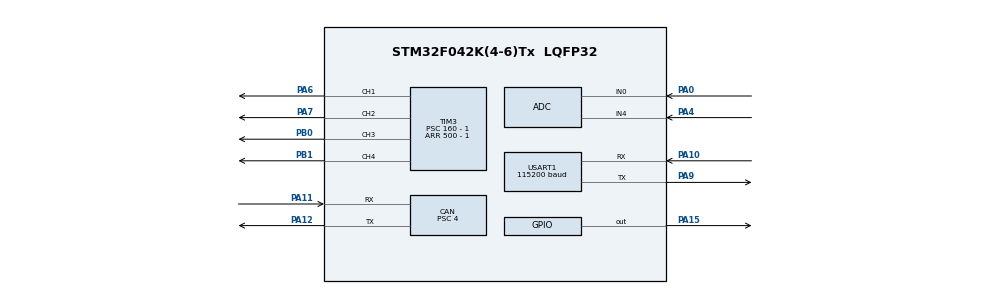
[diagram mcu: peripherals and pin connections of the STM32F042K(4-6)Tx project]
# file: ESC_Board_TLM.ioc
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ADC.SamplingTime=ADC_SAMPLETIME_71CYCLES_5
CAN.AWUM=DISABLE
CAN.BS1=CAN_BS1_11TQ
CAN.BS2=CAN_BS2_4TQ
CAN.CalculateTimeQuantum=500.0
CAN.NART=DISABLE
CAN.Prescaler=4
CAN.SJW=CAN_SJW_1TQ
CAN.TXFP=DISABLE
Dma.Request0=TIM3_CH1/TRIG
Dma.TIM3_CH1/TRIG.0.Direction=DMA_PERIPH_TO_MEMORY
Dma.TIM3_CH1/TRIG.0.Instance=DMA1_Channel4
Dma.TIM3_CH1/TRIG.0.MemDataAlignment=DMA_MDATAALIGN_HALFWORD
Dma.TIM3_CH1/TRIG.0.MemInc=DMA_MINC_ENABLE
Dma.TIM3_CH1/TRIG.0.Mode=DMA_NORMAL
Dma.TIM3_CH1/TRIG.0.PeriphDataAlignment=DMA_PDATAALIGN_WORD
Dma.TIM3_CH1/TRIG.0.PeriphInc=DMA_PINC_ENABLE
Dma.TIM3_CH1/TRIG.0.Priority=DMA_PRIORITY_LOW
Mcu.Family=STM32F0
Mcu.Name=STM32F042K(4-6)Tx
Mcu.Package=LQFP32
Mcu.UserConstants=NUM_ADC_INIT_WAIT_MS,500;TLM_PACKET_ARRIVAL_MS,10
NVIC.ADC1_IRQn=true\:1\:0\:true\:false\:true\:true\:true
NVIC.CEC_CAN_IRQn=true\:0\:0\:false\:false\:true\:true\:true
NVIC.DMA1_Channel4_5_IRQn=true\:0\:0\:false\:false\:true\:false\:true
NVIC.TIM14_IRQn=true\:0\:0\:false\:false\:true\:true\:true
NVIC.TIM16_IRQn=true\:0\:0\:false\:false\:true\:true\:true
NVIC.USART1_IRQn=true\:0\:0\:false\:false\:true\:true\:true
PA0.Mode=IN0
PA0.Signal=ADC_IN0
PA10.Mode=Asynchronous
PA10.Signal=USART1_RX
PA11.Mode=Master
PA11.Signal=CAN_RX
PA12.Mode=Master
PA12.Signal=CAN_TX
PA15.Signal=GPIO_Output
PA4.Mode=IN4
PA4.Signal=ADC_IN4
PA6.Signal=S_TIM3_CH1
PA7.Signal=S_TIM3_CH2
PA9.Mode=Asynchronous
PA9.Signal=USART1_TX
PB0.Signal=S_TIM3_CH3
PB1.Signal=S_TIM3_CH4
ProjectManager.HeapSize=0x200
ProjectManager.StackSize=0x400
ProjectManager.TargetToolchain=STM32CubeIDE
SH.S_TIM3_CH1.0=TIM3_CH1,PWM Generation1 CH1
SH.S_TIM3_CH2.0=TIM3_CH2,PWM Generation2 CH2
SH.S_TIM3_CH3.0=TIM3_CH3,PWM Generation3 CH3
SH.S_TIM3_CH4.0=TIM3_CH4,PWM Generation4 CH4
TIM14.Period=NUM_ADC_INIT_WAIT_MS - 1
TIM14.Prescaler=8000 - 1
TIM16.Period=TLM_PACKET_ARRIVAL_MS-1
TIM16.Prescaler=8000-1
TIM3.AutoReloadPreload=TIM_AUTORELOAD_PRELOAD_ENABLE
TIM3.Channel-PWM\ Generation1\ CH1=TIM_CHANNEL_1
TIM3.Channel-PWM\ Generation2\ CH2=TIM_CHANNEL_2
TIM3.Channel-PWM\ Generation3\ CH3=TIM_CHANNEL_3
TIM3.Channel-PWM\ Generation4\ CH4=TIM_CHANNEL_4
TIM3.Period=500 - 1
TIM3.Prescaler=160 - 1
TIM3.Pulse-PWM\ Generation1\ CH1=75
TIM3.Pulse-PWM\ Generation2\ CH2=75
TIM3.Pulse-PWM\ Generation3\ CH3=75
TIM3.Pulse-PWM\ Generation4\ CH4=75
USART1.BaudRate=115200
USART1.Mode=MODE_RX
USART1.VirtualMode-Asynchronous=VM_ASYNC
VP_TIM14_VS_ClockSourceINT.Mode=Enable_Timer
VP_TIM16_VS_ClockSourceINT.Mode=Enable_Timer
board=custom

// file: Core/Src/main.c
/* USER CODE BEGIN Header */
/**
    ******************************************************************************
    * @file                     : main.c
    * @brief                    : Main program body
    ******************************************************************************
    ** This notice applies to any and all portions of this file
    * that are not between comment pairs USER CODE BEGIN and
    * USER CODE END. Other portions of this file, whether
    * inserted by the user or by software development tools
    * are owned by their respective copyright owners.
    *
    * COPYRIGHT(c) 2019 STMicroelectronics
    *
    * Redistribution and use in source and binary forms, with or without modification,
    * are permitted provided that the following conditions are met:
    *     1. Redistributions of source code must retain the above copyright notice,
    *            this list of conditions and the following disclaimer.
    *     2. Redistributions in binary form must reproduce the above copyright notice,
    *            this list of conditions and the following disclaimer in the documentation
    *            and/or other materials provided with the distribution.
    *     3. Neither the name of STMicroelectronics nor the names of its contributors
    *            may be used to endorse or promote products derived from this software
    *            without specific prior written permission.
    *
    * THIS SOFTWARE IS PROVIDED BY THE COPYRIGHT HOLDERS AND CONTRIBUTORS "AS IS"
    * AND ANY EXPRESS OR IMPLIED WARRANTIES, INCLUDING, BUT NOT LIMITED TO, THE
    * IMPLIED WARRANTIES OF MERCHANTABILITY AND FITNESS FOR A PARTICULAR PURPOSE ARE
    * DISCLAIMED. IN NO EVENT SHALL THE COPYRIGHT HOLDER OR CONTRIBUTORS BE LIABLE
    * FOR ANY DIRECT, INDIRECT, INCIDENTAL, SPECIAL, EXEMPLARY, OR CONSEQUENTIAL
    * DAMAGES (INCLUDING, BUT NOT LIMITED TO, PROCUREMENT OF SUBSTITUTE GOODS OR
    * SERVICES; LOSS OF USE, DATA, OR PROFITS; OR BUSINESS INTERRUPTION) HOWEVER
    * CAUSED AND ON ANY THEORY OF LIABILITY, WHETHER IN CONTRACT, STRICT LIABILITY,
    * OR TORT (INCLUDING NEGLIGENCE OR OTHERWISE) ARISING IN ANY WAY OUT OF THE USE
    * OF THIS SOFTWARE, EVEN IF ADVISED OF THE POSSIBILITY OF SUCH DAMAGE.
    *
    ******************************************************************************
    */
/* USER CODE END Header */
#include "main.h"

/* USER CODE BEGIN Includes */
#include <assert.h>
#include <stdint.h>

#include "common.h"
#define FILTER_AND_QUEUE 0
#if FILTER_AND_QUEUE
#include "canFilterBankConfig.h"
#include "queue.h"
#endif

#pragma GCC diagnostic warning "-Wunused-macros"
#pragma GCC diagnostic warning "-Wunused-parameter"
#pragma GCC diagnostic warning "-Wsign-compare"
#pragma GCC diagnostic warning "-Wconversion"
#pragma GCC diagnostic warning "-Wredundant-decls"
#pragma GCC diagnostic warning "-Wswitch-default"
#pragma GCC diagnostic warning "-Wswitch-enum"

/* USER CODE END Includes */

/* USER CODE BEGIN PTD */

typedef struct
{
	CAN_TxHeaderTypeDef canTxHeader;
	uint8_t data[8];
} CanTxData;

typedef enum {
	KISS_TEMP = 0,
	KISS_VOLT_HIGH,
	KISS_VOLT_LOW,
	KISS_CURRENT_HIGH,
	KISS_CURRENT_LOW,
	KISS_ENERGY_HIGH,
	KISS_ENERGY_LOW,
	KISS_ERPM_HIGH,
	KISS_ERPM_LOW,
	KISS_CRC,
	KISS_NO_CRC_COUNT = KISS_CRC,
	KISS_CRC_COUNT
} kiss_tlm_index_t;

typedef enum {
	ROV_TEMP = 0,
	ROV_VOLT,
	ROV_CURRENT_HIGH,
	ROV_CURRENT_LOW,
	ROV_ENERGY_HIGH,
	ROV_ENERGY_LOW,
	ROV_ERPM_HIGH,
	ROV_ERPM_LOW,
	ROV_TLM_COUNT
} rov_tlm_index_t;

/* USER CODE END PTD */

/* USER CODE BEGIN PD */

#define NUM_ADC_INIT_WAIT_MS 500

#define CAN_ST_ID_REG_N_BITS 11
#define CAN_ST_ID_REG_MAX MASK_OF(CAN_ST_ID_REG_N_BITS)

/*
 * The resistor voltage divisions for the CAN ID have a pull up on the ESC controller board
 * where this micro is. The pull down is on the backplane. ID 206 will be used if the board
 * is unconnected, resulting in ADC value of VCC (4095). The other voltage divisions are
 * designed to be at 0.3, 0.5, and 0.7 VCC. So the "bins" for them will be 0.2 to 0.4 are 0.3
 * or ID 201, 0.4 to 0.6 are 0.5 or ID 202, and 0.6 to 0.8 are 0.7 or ID 203.
 */

#define ADC_MAX_VALUE (4095U)
#define CAN_ID_201_LOW_THRESHOLD (ADC_MAX_VALUE / 5)
#define CAN_ID_202_LOW_THRESHOLD (ADC_MAX_VALUE / 5 * 2)
#define CAN_ID_203_LOW_THRESHOLD (ADC_MAX_VALUE / 5 * 3)
#define CAN_ID_206_LOW_THRESHOLD (ADC_MAX_VALUE / 5 * 4)
#define CAN_ID_201_HIGH_THRESHOLD (CAN_ID_202_LOW_THRESHOLD - 1)
#define CAN_ID_202_HIGH_THRESHOLD (CAN_ID_203_LOW_THRESHOLD - 1)
#define CAN_ID_203_HIGH_THRESHOLD (CAN_ID_206_LOW_THRESHOLD - 1)
#define CAN_ID_206_HIGH_THRESHOLD ADC_MAX_VALUE

#define CAN_ID_201_FLASH_MS 1000
#define CAN_ID_202_FLASH_MS 500
#define CAN_ID_203_FLASH_MS 250
#define CAN_ID_206_FLASH_MS 2000
#define ERROR_FLASH_MS 4000

#define NUM_CAN_TX_QUEUE_MESSAGES 5

#define SEND_ID_INC 0x100U
#define SEND_ID (canId + SEND_ID_INC)

#define voltToKISSFormat(volt) (volt * 100U)

#define ROV_VOLT_MIN 10U
#define ROV_VOLT_MIN_KISS (voltToKISSFormat(ROV_VOLT_MIN))
#define ROV_VOLT_MAX_KISS 4060U
#define ROV_VOLT_DIVISOR ((ROV_VOLT_MAX_KISS - ROV_VOLT_MIN_KISS) / UINT8_MAX)

// Assert that the divisor is a whole number.
compile_assert((float)ROV_VOLT_DIVISOR == ((ROV_VOLT_MAX_KISS - ROV_VOLT_MIN_KISS) / (float)UINT8_MAX));

/* USER CODE END PD */

ADC_HandleTypeDef hadc;

CAN_HandleTypeDef hcan;

TIM_HandleTypeDef htim3;
TIM_HandleTypeDef htim14;
TIM_HandleTypeDef htim16;
DMA_HandleTypeDef hdma_tim3_ch1_trig;

UART_HandleTypeDef huart1;

/* USER CODE BEGIN PV */
uint32_t canId = 0x206;
uint8_t adcConfigured = 0;

#if FILTER_AND_QUEUE
queue_handle_t canTxQueueHandle;
#endif
CanTxData canTxData[NUM_CAN_TX_QUEUE_MESSAGES];
CanTxData canTxPrivateMessageToSend;

static uint8_t telemetryBuffer[KISS_CRC_COUNT] = {0};
static volatile uint8_t telemetryBytesRecieved;
static uint8_t uartRxBuffer;
static volatile uint8_t sendTelemetry;
// Not sure if some of the above variables should or shouldn't be volatile so that
// main properly checks them after the interrupt modifies them.
/* USER CODE END PV */

void SystemClock_Config(void);
static void MX_GPIO_Init(void);
static void MX_DMA_Init(void);
static void MX_CAN_Init(void);
static void MX_ADC_Init(void);
static void MX_TIM3_Init(void);
static void MX_USART1_UART_Init(void);
static void MX_TIM14_Init(void);
static void MX_TIM16_Init(void);
/* USER CODE BEGIN PFP */

void EnablePWMOutput(TIM_HandleTypeDef *_htim);
static uint32_t byte_to_pwm(uint8_t byte);

#if FILTER_AND_QUEUE
static void CAN_ConfigureFilterForThrusterOperation(void);
#endif
void SendCANMessage(CanTxData *canTxDataToSend);

//  Interrupt Callback Functions
void CAN_FIFO0_RXMessagePendingCallback(CAN_HandleTypeDef *_hcan);
void CAN_TxRequestCompleteCallback(CAN_HandleTypeDef *_hcan);
void ADC_ConversionCompleteCallback(ADC_HandleTypeDef *_hadc);
void TIM14_TimeElapsedCallback(TIM_HandleTypeDef *_htim);
void TIM16_TimeElapsedCallback(TIM_HandleTypeDef *_htim);

static uint8_t packROVVolt(uint16_t kissVolt);
static void sendTelemetryData(void);
/* USER CODE END PFP */

int main(void)
{

  /* MCU Configuration--------------------------------------------------------*/

  /* Reset of all peripherals, Initializes the Flash interface and the Systick. */
  HAL_Init();

  /* Configure the system clock */
  SystemClock_Config();

  /* Initialize all configured peripherals */
  MX_GPIO_Init();
  MX_DMA_Init();
  MX_CAN_Init();
  MX_ADC_Init();
  MX_TIM3_Init();
  MX_USART1_UART_Init();
  MX_TIM14_Init();
  MX_TIM16_Init();
  /* USER CODE BEGIN 2 */

#if FILTER_AND_QUEUE
  InitializeQueueModule();
  CreateQueue((void*)canTxData, sizeof(canTxData[0]), N_ELEMENTS(canTxData), &canTxQueueHandle);
#endif

  //  Enable PWM Outputs to ESCs
  EnablePWMOutput(&htim3);

  //  Start Timer to begin sampling ESC_ID with ADC
  HAL_TIM_Base_Start_IT(&htim14);

  // Start waiting for a telemetry packet to be sent.
  HAL_UART_Receive_IT(&huart1, &uartRxBuffer, 1);

  /* USER CODE END 2 */

  /* Infinite loop */
    while (1)
    {

    /* USER CODE BEGIN 3 */
		if(sendTelemetry) {
			if(telemetryBytesRecieved >= KISS_NO_CRC_COUNT) {
				sendTelemetryData();
			}
			telemetryBytesRecieved = 0;
			sendTelemetry = 0;
		}
		asm volatile("wfi");
    }
  /* USER CODE END 3 */
}

void SystemClock_Config(void)
{
  RCC_OscInitTypeDef RCC_OscInitStruct = {0};
  RCC_ClkInitTypeDef RCC_ClkInitStruct = {0};
  RCC_PeriphCLKInitTypeDef PeriphClkInit = {0};

  /** Initializes the RCC Oscillators according to the specified parameters
  * in the RCC_OscInitTypeDef structure.
  */
  RCC_OscInitStruct.OscillatorType = RCC_OSCILLATORTYPE_HSI|RCC_OSCILLATORTYPE_HSI14;
  RCC_OscInitStruct.HSIState = RCC_HSI_ON;
  RCC_OscInitStruct.HSI14State = RCC_HSI14_ON;
  RCC_OscInitStruct.HSICalibrationValue = RCC_HSICALIBRATION_DEFAULT;
  RCC_OscInitStruct.HSI14CalibrationValue = 16;
  RCC_OscInitStruct.PLL.PLLState = RCC_PLL_NONE;
  if (HAL_RCC_OscConfig(&RCC_OscInitStruct) != HAL_OK)
  {
    Error_Handler();
  }
  /** Initializes the CPU, AHB and APB buses clocks
  */
  RCC_ClkInitStruct.ClockType = RCC_CLOCKTYPE_HCLK|RCC_CLOCKTYPE_SYSCLK
                              |RCC_CLOCKTYPE_PCLK1;
  RCC_ClkInitStruct.SYSCLKSource = RCC_SYSCLKSOURCE_HSI;
  RCC_ClkInitStruct.AHBCLKDivider = RCC_SYSCLK_DIV1;
  RCC_ClkInitStruct.APB1CLKDivider = RCC_HCLK_DIV1;

  if (HAL_RCC_ClockConfig(&RCC_ClkInitStruct, FLASH_LATENCY_0) != HAL_OK)
  {
    Error_Handler();
  }
  PeriphClkInit.PeriphClockSelection = RCC_PERIPHCLK_USART1;
  PeriphClkInit.Usart1ClockSelection = RCC_USART1CLKSOURCE_PCLK1;
  if (HAL_RCCEx_PeriphCLKConfig(&PeriphClkInit) != HAL_OK)
  {
    Error_Handler();
  }
}

static void MX_ADC_Init(void)
{

  ADC_ChannelConfTypeDef sConfig = {0};

  /** Configure the global features of the ADC (Clock, Resolution, Data Alignment and number of conversion)
  */
  hadc.Instance = ADC1;
  hadc.Init.ClockPrescaler = ADC_CLOCK_ASYNC_DIV1;
  hadc.Init.Resolution = ADC_RESOLUTION_12B;
  hadc.Init.DataAlign = ADC_DATAALIGN_RIGHT;
  hadc.Init.ScanConvMode = ADC_SCAN_DIRECTION_FORWARD;
  hadc.Init.EOCSelection = ADC_EOC_SINGLE_CONV;
  hadc.Init.LowPowerAutoWait = DISABLE;
  hadc.Init.LowPowerAutoPowerOff = DISABLE;
  hadc.Init.ContinuousConvMode = DISABLE;
  hadc.Init.DiscontinuousConvMode = DISABLE;
  hadc.Init.ExternalTrigConv = ADC_SOFTWARE_START;
  hadc.Init.ExternalTrigConvEdge = ADC_EXTERNALTRIGCONVEDGE_NONE;
  hadc.Init.DMAContinuousRequests = DISABLE;
  hadc.Init.Overrun = ADC_OVR_DATA_PRESERVED;
  if (HAL_ADC_Init(&hadc) != HAL_OK)
  {
    Error_Handler();
  }
  /** Configure for the selected ADC regular channel to be converted.
  */
  sConfig.Channel = ADC_CHANNEL_0;
  sConfig.Rank = ADC_RANK_CHANNEL_NUMBER;
  sConfig.SamplingTime = ADC_SAMPLETIME_71CYCLES_5;
  if (HAL_ADC_ConfigChannel(&hadc, &sConfig) != HAL_OK)
  {
    Error_Handler();
  }
  /** Configure for the selected ADC regular channel to be converted.
  */
  sConfig.Channel = ADC_CHANNEL_4;
  if (HAL_ADC_ConfigChannel(&hadc, &sConfig) != HAL_OK)
  {
    Error_Handler();
  }
  /* USER CODE BEGIN ADC_Init 2 */

  //  Configure ADC Interrupt Callback
  HAL_ADC_RegisterCallback(&hadc, HAL_ADC_CONVERSION_COMPLETE_CB_ID, ADC_ConversionCompleteCallback);

  //  Calibrate ADC
  HAL_ADCEx_Calibration_Start(&hadc);

  /* USER CODE END ADC_Init 2 */

}

static void MX_CAN_Init(void)
{

  /* USER CODE BEGIN CAN_Init 1 */

  //  125kbps baud rate is configured
  //  HAL_CAN_Init() enters and stays in Initialization Mode
  /* USER CODE END CAN_Init 1 */
  hcan.Instance = CAN;
  hcan.Init.Prescaler = 4;
  hcan.Init.Mode = CAN_MODE_NORMAL;
  hcan.Init.SyncJumpWidth = CAN_SJW_1TQ;
  hcan.Init.TimeSeg1 = CAN_BS1_11TQ;
  hcan.Init.TimeSeg2 = CAN_BS2_4TQ;
  hcan.Init.TimeTriggeredMode = DISABLE;
  hcan.Init.AutoBusOff = DISABLE;
  hcan.Init.AutoWakeUp = DISABLE;
  hcan.Init.AutoRetransmission = DISABLE;
  hcan.Init.ReceiveFifoLocked = DISABLE;
  hcan.Init.TransmitFifoPriority = DISABLE;
  if (HAL_CAN_Init(&hcan) != HAL_OK)
  {
    Error_Handler();
  }
  /* USER CODE BEGIN CAN_Init 2 */

  //  Enable FIFO0 Message Pending Interrupt
  HAL_CAN_ActivateNotification(&hcan, CAN_IT_RX_FIFO0_MSG_PENDING);

  //  Configure CAN Interrupt Callbacks
  HAL_CAN_RegisterCallback(&hcan, HAL_CAN_RX_FIFO0_MSG_PENDING_CB_ID, CAN_FIFO0_RXMessagePendingCallback);

#if FILTER_AND_QUEUE
  CAN_ConfigureFilterForThrusterOperation();
#endif

  //  Enable TX Request Complete Interrupt
#if FILTER_AND_QUEUE
  HAL_CAN_ActivateNotification(&hcan, CAN_IT_TX_MAILBOX_EMPTY);
  HAL_CAN_RegisterCallback(&hcan, HAL_CAN_TX_MAILBOX0_COMPLETE_CB_ID, CAN_TxRequestCompleteCallback);
  HAL_CAN_RegisterCallback(&hcan, HAL_CAN_TX_MAILBOX1_COMPLETE_CB_ID, CAN_TxRequestCompleteCallback);
  HAL_CAN_RegisterCallback(&hcan, HAL_CAN_TX_MAILBOX2_COMPLETE_CB_ID, CAN_TxRequestCompleteCallback);
#endif

  /* USER CODE END CAN_Init 2 */

}

static void MX_TIM3_Init(void)
{

  TIM_MasterConfigTypeDef sMasterConfig = {0};
  TIM_OC_InitTypeDef sConfigOC = {0};

  /* USER CODE BEGIN TIM3_Init 1 */

  //  ESC will update at a frequency of 100Hz
  //  TIM3 Count will reset every 10ms
  /* USER CODE END TIM3_Init 1 */
  htim3.Instance = TIM3;
  htim3.Init.Prescaler = 160 - 1;
  htim3.Init.CounterMode = TIM_COUNTERMODE_UP;
  htim3.Init.Period = 500 - 1;
  htim3.Init.ClockDivision = TIM_CLOCKDIVISION_DIV1;
  htim3.Init.AutoReloadPreload = TIM_AUTORELOAD_PRELOAD_ENABLE;
  if (HAL_TIM_PWM_Init(&htim3) != HAL_OK)
  {
    Error_Handler();
  }
  sMasterConfig.MasterOutputTrigger = TIM_TRGO_RESET;
  sMasterConfig.MasterSlaveMode = TIM_MASTERSLAVEMODE_DISABLE;
  if (HAL_TIMEx_MasterConfigSynchronization(&htim3, &sMasterConfig) != HAL_OK)
  {
    Error_Handler();
  }
  sConfigOC.OCMode = TIM_OCMODE_PWM1;
  sConfigOC.Pulse = 75;
  sConfigOC.OCPolarity = TIM_OCPOLARITY_HIGH;
  sConfigOC.OCFastMode = TIM_OCFAST_DISABLE;
  if (HAL_TIM_PWM_ConfigChannel(&htim3, &sConfigOC, TIM_CHANNEL_1) != HAL_OK)
  {
    Error_Handler();
  }
  if (HAL_TIM_PWM_ConfigChannel(&htim3, &sConfigOC, TIM_CHANNEL_2) != HAL_OK)
  {
    Error_Handler();
  }
  if (HAL_TIM_PWM_ConfigChannel(&htim3, &sConfigOC, TIM_CHANNEL_3) != HAL_OK)
  {
    Error_Handler();
  }
  if (HAL_TIM_PWM_ConfigChannel(&htim3, &sConfigOC, TIM_CHANNEL_4) != HAL_OK)
  {
    Error_Handler();
  }
  HAL_TIM_MspPostInit(&htim3);

}

static void MX_TIM14_Init(void)
{

  htim14.Instance = TIM14;
  htim14.Init.Prescaler = 8000 - 1;
  htim14.Init.CounterMode = TIM_COUNTERMODE_UP;
  htim14.Init.Period = NUM_ADC_INIT_WAIT_MS - 1;
  htim14.Init.ClockDivision = TIM_CLOCKDIVISION_DIV1;
  htim14.Init.AutoReloadPreload = TIM_AUTORELOAD_PRELOAD_DISABLE;
  if (HAL_TIM_Base_Init(&htim14) != HAL_OK)
  {
    Error_Handler();
  }
  /* USER CODE BEGIN TIM14_Init 2 */

  //  Reconfigure Timer ARR to count up to NUM_ADC_INIT_WAIT_MS ms until ADC conversion start
  htim14.Instance->ARR = htim14.Init.Period;

  //  Configure Timer Interrupt Callback
  HAL_TIM_RegisterCallback(&htim14, HAL_TIM_PERIOD_ELAPSED_CB_ID, TIM14_TimeElapsedCallback);

  /* USER CODE END TIM14_Init 2 */

}

static void MX_TIM16_Init(void)
{

  htim16.Instance = TIM16;
  htim16.Init.Prescaler = 8000-1;
  htim16.Init.CounterMode = TIM_COUNTERMODE_UP;
  htim16.Init.Period = TLM_PACKET_ARRIVAL_MS-1;
  htim16.Init.ClockDivision = TIM_CLOCKDIVISION_DIV1;
  htim16.Init.RepetitionCounter = 0;
  htim16.Init.AutoReloadPreload = TIM_AUTORELOAD_PRELOAD_DISABLE;
  if (HAL_TIM_Base_Init(&htim16) != HAL_OK)
  {
    Error_Handler();
  }
  /* USER CODE BEGIN TIM16_Init 2 */

    htim14.Instance->ARR = htim14.Init.Period;

	HAL_TIM_RegisterCallback(&htim16, HAL_TIM_PERIOD_ELAPSED_CB_ID, TIM16_TimeElapsedCallback);
  /* USER CODE END TIM16_Init 2 */

}

static void MX_USART1_UART_Init(void)
{

  huart1.Instance = USART1;
  huart1.Init.BaudRate = 115200;
  huart1.Init.WordLength = UART_WORDLENGTH_8B;
  huart1.Init.StopBits = UART_STOPBITS_1;
  huart1.Init.Parity = UART_PARITY_NONE;
  huart1.Init.Mode = UART_MODE_RX;
  huart1.Init.HwFlowCtl = UART_HWCONTROL_NONE;
  huart1.Init.OverSampling = UART_OVERSAMPLING_16;
  huart1.Init.OneBitSampling = UART_ONE_BIT_SAMPLE_DISABLE;
  huart1.AdvancedInit.AdvFeatureInit = UART_ADVFEATURE_NO_INIT;
  if (HAL_UART_Init(&huart1) != HAL_OK)
  {
    Error_Handler();
  }
  /* USER CODE BEGIN USART1_Init 2 */

  HAL_StatusTypeDef status = HAL_UART_RegisterCallback(&huart1, HAL_UART_RX_COMPLETE_CB_ID, HAL_UART_RxCpltCallback);
  (void)status;
  /* USER CODE END USART1_Init 2 */

}

static void MX_DMA_Init(void)
{

  /* DMA controller clock enable */
  __HAL_RCC_DMA1_CLK_ENABLE();

  /* DMA interrupt init */
  /* DMA1_Channel4_5_IRQn interrupt configuration */
  HAL_NVIC_SetPriority(DMA1_Channel4_5_IRQn, 0, 0);
  HAL_NVIC_EnableIRQ(DMA1_Channel4_5_IRQn);

}

static void MX_GPIO_Init(void)
{
  GPIO_InitTypeDef GPIO_InitStruct = {0};

  /* GPIO Ports Clock Enable */
  __HAL_RCC_GPIOA_CLK_ENABLE();
  __HAL_RCC_GPIOB_CLK_ENABLE();

  /*Configure GPIO pin Output Level */
  HAL_GPIO_WritePin(GPIOA, GPIO_PIN_15, GPIO_PIN_RESET);

  /*Configure GPIO pin : PA15 */
  GPIO_InitStruct.Pin = GPIO_PIN_15;
  GPIO_InitStruct.Mode = GPIO_MODE_OUTPUT_PP;
  GPIO_InitStruct.Pull = GPIO_NOPULL;
  GPIO_InitStruct.Speed = GPIO_SPEED_FREQ_LOW;
  HAL_GPIO_Init(GPIOA, &GPIO_InitStruct);

}

/* USER CODE BEGIN 4 */
#if FILTER_AND_QUEUE
static void CAN_ConfigureFilterForThrusterOperation(void)
{
	CAN_FilterTypeDef thrusterOperationFilter;
	CAN_FilterBank canFilterBank;
	CAN_FilterIDMaskConfig canFilterId;
	CAN_FilterIDMaskConfig canFilterMask;

	//  Configure Filter Bank Parameters except ID and Mask
	thrusterOperationFilter.FilterFIFOAssignment = CAN_FILTER_FIFO0;
	thrusterOperationFilter.FilterBank = 0;
	thrusterOperationFilter.FilterMode = CAN_FILTERMODE_IDMASK;
	thrusterOperationFilter.FilterScale = CAN_FILTERSCALE_32BIT;
	thrusterOperationFilter.FilterActivation = CAN_FILTER_ENABLE;

	//  Configure only ID and Mask Filter Bank Parameters
	canFilterBank.filterMode = CANIDFilterMode_32BitMask;

	canFilterId.stdId = canId;
	canFilterId.extId = 0;
	canFilterId.ide = CAN_IDE_CLEAR;
	canFilterId.rtr = CAN_RTR_CLEAR;

	canFilterMask.stdId = CAN_ST_ID_REG_MAX;
	canFilterMask.extId = 0;
	canFilterMask.ide = CAN_IDE_CLEAR;
	canFilterMask.rtr = CAN_RTR_CLEAR;

	canFilterBank.id1 = &canFilterId;
	canFilterBank.mask1 = &canFilterMask;

	CAN_ConfigureFilterBank(&thrusterOperationFilter, &canFilterBank);
	HAL_CAN_ConfigFilter(&hcan, &thrusterOperationFilter);
}
#endif

//  Handles ONLY the Reception of Thruster Operation CAN Packets
void CAN_FIFO0_RXMessagePendingCallback(CAN_HandleTypeDef *_hcan)
{
	uint32_t data_32 = _hcan->Instance->sFIFOMailBox[0].RDHR;
	uint8_t *data = (uint8_t *)&data_32;

	//  Release Output Mailbox
	SET_BIT(_hcan->Instance->RF0R, CAN_RF0R_RFOM0);

#if defined(DEBUG) || !FILTER_AND_QUEUE
	if(_hcan->Instance->sFIFOMailBox[0].RIR >> CAN_RI0R_STID_Pos != canId) {
		uint8_t REEE = 0xFF;
		(void)REEE;
		Error_Handler();
		return;
	}
#endif

	HAL_GPIO_WritePin(GPIOA, GPIO_PIN_15, GPIO_PIN_SET);

	htim3.Instance->CR1 |= TIM_CR1_UDIS;  //  Disable UEV Generation

	htim3.Instance->CCR1 = byte_to_pwm(data[0]);
	htim3.Instance->CCR2 = byte_to_pwm(data[1]);
	htim3.Instance->CCR3 = byte_to_pwm(data[2]);
	htim3.Instance->CCR4 = byte_to_pwm(data[3]);

	htim3.Instance->CR1 &= ~TIM_CR1_UDIS;  //  Re-enable UEV Generation
}

void ADC_ConversionCompleteCallback(ADC_HandleTypeDef *_hadc)
{
	uint32_t adcValue = HAL_ADC_GetValue(_hadc);

	switch(adcValue) {
		case CAN_ID_201_LOW_THRESHOLD ... CAN_ID_201_HIGH_THRESHOLD:
			canId = 0x201;
			htim14.Init.Period = CAN_ID_201_FLASH_MS - 1;
			break;
		case CAN_ID_202_LOW_THRESHOLD ... CAN_ID_202_HIGH_THRESHOLD:
			canId = 0x202;
			htim14.Init.Period = CAN_ID_202_FLASH_MS - 1;
			break;
		case CAN_ID_203_LOW_THRESHOLD ... CAN_ID_203_HIGH_THRESHOLD:
			canId = 0x203;
			htim14.Init.Period = CAN_ID_203_FLASH_MS - 1;
			break;
		case CAN_ID_206_LOW_THRESHOLD ... CAN_ID_206_HIGH_THRESHOLD:
			canId = 0x206;
			htim14.Init.Period = CAN_ID_206_FLASH_MS - 1;
			break;
		default:
			htim14.Init.Period = ERROR_FLASH_MS - 1;
			break;
	}

	// Restart TIM14 to flash PA15 LED
	HAL_ADC_Stop_IT(_hadc);

	// Configure CAN Filter for Thrusters and
#if FILTER_AND_QUEUE
	CAN_ConfigureFilterForThrusterOperation();
#endif
	HAL_CAN_Start(&hcan);  //  Enters Normal Operating Mode

	// Restart TIM14 to flash PA15 LED
	htim14.Instance->ARR = htim14.Init.Period;
	HAL_TIM_Base_Start_IT(&htim14);

}

void TIM14_TimeElapsedCallback(TIM_HandleTypeDef *_htim)
{
	if (!adcConfigured)
	{
		HAL_TIM_Base_Stop_IT(_htim);
		HAL_ADC_Start_IT(&hadc);
		adcConfigured = 1;
	} else {
		HAL_GPIO_TogglePin(GPIOA, GPIO_PIN_15);
	}
}

#if FILTER_AND_QUEUE
void CAN_TxRequestCompleteCallback(CAN_HandleTypeDef *_hcan)
{
	uint32_t txMailboxNumber;
	CanTxData *canTxDataToSend;

	if (!isQueueEmpty(canTxQueueHandle) && HAL_CAN_GetTxMailboxesFreeLevel(_hcan) > 0)
	{
		RemoveFromQueue(canTxQueueHandle, (void **)&canTxDataToSend);
		HAL_CAN_AddTxMessage(_hcan, &(canTxDataToSend->canTxHeader), canTxDataToSend->data, &txMailboxNumber);
	}
}
#endif

void SendCANMessage(CanTxData *canTxDataToSend)
{
	uint32_t txMailboxNumber;

	if (HAL_CAN_GetTxMailboxesFreeLevel(&hcan) > 0
#if FILTER_AND_QUEUE
			&& isQueueEmpty(canTxQueueHandle)
#endif
		)
	{
		HAL_CAN_AddTxMessage(&hcan, &(canTxDataToSend->canTxHeader), canTxDataToSend->data, &txMailboxNumber);
	}
#if FILTER_AND_QUEUE
	else
	{
		if (AddToQueue(canTxQueueHandle, canTxDataToSend) != QUEUE_SUCCESS)
		{
			assert(0);
		}
	}
#endif
}

void EnablePWMOutput(TIM_HandleTypeDef *_htim)
{
	//  Set HAL Timer Channel Status
	TIM_CHANNEL_STATE_SET_ALL(_htim, HAL_TIM_CHANNEL_STATE_BUSY);

	//  Enable outputs for all 4 PWM Channels
	_htim->Instance->CCER |= (TIM_CCER_CC1E | TIM_CCER_CC2E | TIM_CCER_CC3E | TIM_CCER_CC4E);

	//  Enable Timer Counter
	_htim->Instance->CR1 |= TIM_CR1_CEN;
}

//  Imported from X12 ESC Code
uint32_t byte_to_pwm(uint8_t byte)
{
	float exact;
	exact = (uint32_t)byte * (40.0F/255.0F) + 55.0F;
	return (uint32_t) (exact + 0.5F); //rounds up the integer by adding 0.5
}

void HAL_UART_RxCpltCallback(UART_HandleTypeDef *huart)
{
	telemetryBuffer[telemetryBytesRecieved] = uartRxBuffer;
	++telemetryBytesRecieved;
	if(telemetryBytesRecieved == 1) {
		// start timer. A new packet is sent every 32 ms.
		// The Telemetry packet should arrive in the first 10 ms.
		// After 10 ms, send whatever has been received, which may or may not include a 10th CRC byte.
		HAL_TIM_Base_Start_IT(&htim16);
		telemetryBuffer[KISS_CRC] = 0;  // Clear the CRC byte in case this packet doesn't have one.
	} else if(telemetryBytesRecieved == KISS_CRC_COUNT) {
		// As an optimization, if we've gotten all 10 bytes, don't bother waiting and set them to be sent.
		// Stop timer
		HAL_TIM_Base_Stop_IT(&htim16);
		TIM16->CNT = 0;
		sendTelemetry = 1;
	}
	HAL_UART_Receive_IT(huart, &uartRxBuffer, 1);
}

static inline uint8_t packROVVolt(uint16_t kissVolt) {
	if(kissVolt <= ROV_VOLT_MIN_KISS) {
		return 0;
	} else if(kissVolt >= ROV_VOLT_MAX_KISS) {
		return UINT8_MAX;
	} else {
		return (uint8_t)((kissVolt - voltToKISSFormat(ROV_VOLT_MIN)) / ROV_VOLT_DIVISOR);
	}
	/*
	 * Does the conversion of (V - 1000) / 12
	 * The max (40.6 V / KISS 4060) maps to 255
	 * The min (10 V / KISS 1000) maps to 0
	 * Voltages outside that range are clipped
	 */
}

void sendTelemetryData(void) {
	CanTxData canSendPacket;
	canSendPacket.data[ROV_TEMP] = telemetryBuffer[KISS_TEMP];
	uint16_t voltage = (uint16_t)((((uint16_t)telemetryBuffer[KISS_VOLT_HIGH]) << 8U) + telemetryBuffer[KISS_VOLT_LOW]);
	canSendPacket.data[ROV_VOLT] = packROVVolt(voltage);
	canSendPacket.data[ROV_CURRENT_HIGH] = telemetryBuffer[KISS_CURRENT_HIGH];
	canSendPacket.data[ROV_CURRENT_LOW] = telemetryBuffer[KISS_CURRENT_LOW];
	canSendPacket.data[ROV_ENERGY_HIGH] = telemetryBuffer[KISS_ENERGY_HIGH];
	canSendPacket.data[ROV_ENERGY_LOW] = telemetryBuffer[KISS_ENERGY_LOW];
	canSendPacket.data[ROV_ERPM_HIGH] = telemetryBuffer[KISS_ERPM_HIGH];
	canSendPacket.data[ROV_ERPM_LOW] = telemetryBuffer[KISS_ERPM_LOW];
	canSendPacket.canTxHeader.StdId = SEND_ID;
	canSendPacket.canTxHeader.DLC = ROV_TLM_COUNT;
	SendCANMessage(&canSendPacket);
}

void TIM16_TimeElapsedCallback(TIM_HandleTypeDef *htim)
{
	// Set the flag for main to send telemetry data
	sendTelemetry = 1;

	// Stop the timer.
	HAL_TIM_Base_Stop_IT(htim);
	TIM16->CNT = 0;
}
/* USER CODE END 4 */

void Error_Handler(void)
{
}

#ifdef  USE_FULL_ASSERT
/**
  * @brief  Reports the name of the source file and the source line number
  *         where the assert_param error has occurred.
  * @param  file: pointer to the source file name
  * @param  line: assert_param error line source number
  * @retval None
  */
void assert_failed(uint8_t *file, uint32_t line)
{
  /* USER CODE BEGIN 6 */
    /* User can add his own implementation to report the file name and line number,
         tex: printf("Wrong parameters value: file %s on line %d\r\n", file, line) */
	volatile int stayInLoop = 1;
	while(stayInLoop) {}
  /* USER CODE END 6 */
}
#endif /* USE_FULL_ASSERT */

/************************ (C) COPYRIGHT STMicroelectronics *****END OF FILE****/
